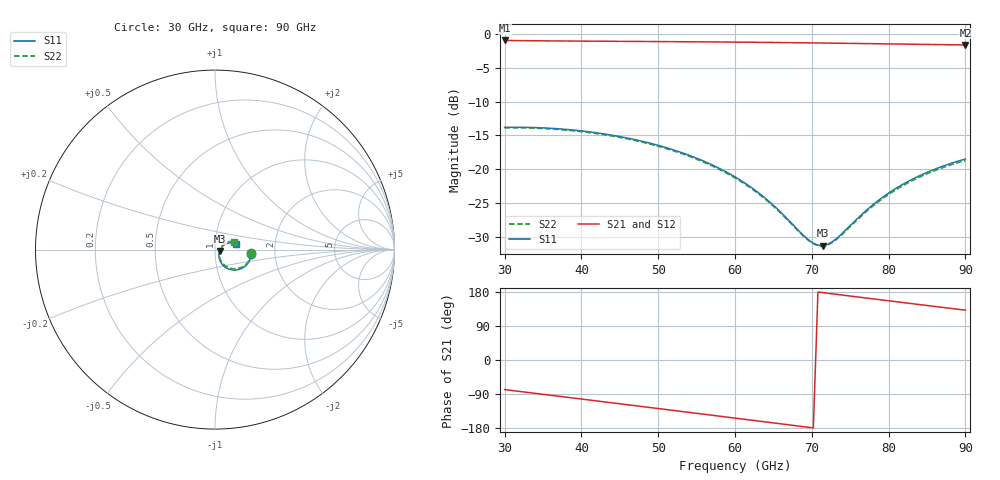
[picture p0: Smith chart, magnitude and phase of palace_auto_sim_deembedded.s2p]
! Created with skrf 1.11.0 (http://scikit-rf.org).
# GHz S DB R 50.0
!freq dBS11 angS11 dBS21 angS21 dBS12 angS12 dBS22 angS22
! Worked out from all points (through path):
!   101 points, 30 GHz to 90 GHz, reference 50 ohm
!   highest |S21| = -0.97 dB at 30 GHz (marker M1); lowest = -1.6 dB at 90 GHz (marker M2)
!   group delay of S21, straight-line fit = 6.99 ps
!   lowest |S11| = -31.3 dB at 71.4 GHz (marker M3), VSWR 1.06, Z = 52.7 - j0.844 ohm
!   |S11| at or under -10 dB: start of sweep to end of sweep
!   |S22| runs from -31.4 to -13.9 dB; largest |S21 - S12| = 9.6e-14
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30  -13.80 -6.8  -0.97 -78.1  -0.97 -78.1  -13.88 -5.3
33  -13.81 -13.3  -1.01 -85.5  -1.01 -85.5  -13.90 -11.6
35.4  -13.91 -18.6  -1.03 -91.5  -1.03 -91.5  -14.01 -16.7
40.2  -14.36 -28.9  -1.07 -103.5  -1.07 -103.5  -14.47 -26.7
45  -15.17 -39.0  -1.10 -115.5  -1.10 -115.5  -15.29 -36.5
50.4  -16.59 -49.8  -1.14 -129.1  -1.14 -129.1  -16.73 -46.9
55.8  -18.73 -59.3  -1.18 -142.7  -1.18 -142.7  -18.88 -55.9
60  -21.13 -64.5  -1.22 -153.4  -1.22 -153.4  -21.28 -60.8
62.4  -22.91 -65.8  -1.24 -159.4  -1.24 -159.4  -23.06 -61.8
64.2  -24.52 -65.0  -1.26 -164.0  -1.26 -164.0  -24.67 -60.9
66  -26.39 -61.8  -1.28 -168.5  -1.28 -168.5  -26.53 -57.5
69  -29.86 -45.2  -1.32 -176.1  -1.32 -176.1  -29.97 -40.8
70.2  -30.92 -32.5  -1.33 -179.1  -1.33 -179.1  -31.01 -28.1
71.4  -31.27 -17.0  -1.35 177.8  -1.35 177.8  -31.36 -12.8
72  -31.11 -9.3  -1.36 176.3  -1.36 176.3  -31.21 -5.2
73.2  -30.25 4.2  -1.38 173.3  -1.38 173.3  -30.37 8.3
77.4  -25.77 25.4  -1.44 162.8  -1.44 162.8  -25.95 29.8
80.4  -23.22 27.4  -1.49 155.3  -1.49 155.3  -23.42 32.2
82.2  -22.00 26.6  -1.51 150.8  -1.51 150.8  -22.21 31.5
84.6  -20.66 24.3  -1.55 144.8  -1.55 144.8  -20.87 29.4
87  -19.57 21.1  -1.59 138.9  -1.59 138.9  -19.79 26.5
90  -18.48 16.5  -1.63 131.5  -1.63 131.5  -18.70 22.1
